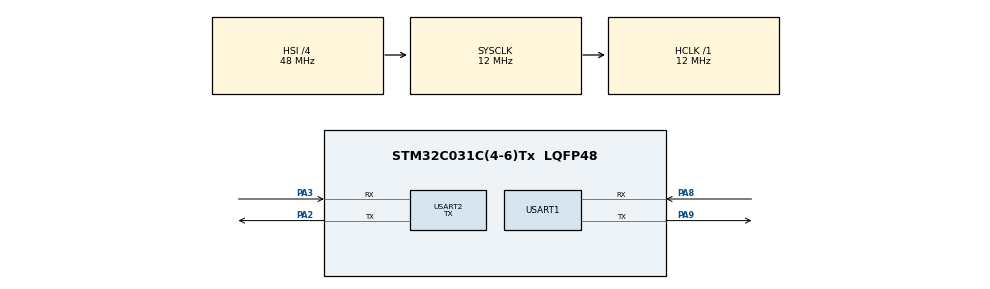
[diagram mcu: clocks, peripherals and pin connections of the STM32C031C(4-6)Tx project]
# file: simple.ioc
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Mcu.Family=STM32C0
Mcu.Name=STM32C031C(4-6)Tx
Mcu.Package=LQFP48
PA2.Mode=Asynchronous
PA2.Signal=USART2_TX
PA3.Mode=Asynchronous
PA3.Signal=USART2_RX
PA8.Mode=Asynchronous
PA8.Signal=USART1_RX
PA9.Mode=Asynchronous
PA9.Signal=USART1_TX
ProjectManager.HeapSize=0x200
ProjectManager.StackSize=0x400
ProjectManager.TargetToolchain=STM32CubeIDE
RCC.ADCFreq_Value=12000000
RCC.AHBFreq_Value=12000000
RCC.CortexFreq_Value=12000000
RCC.EXTERNAL_CLOCK_VALUE=12288000
RCC.HCLKFreq_Value=12000000
RCC.HSE_VALUE=8000000
RCC.HSI_VALUE=48000000
RCC.LSE_VALUE=32768
RCC.SYSCLKFreq_VALUE=12000000
USART1.VirtualMode-Asynchronous=VM_ASYNC
USART2.Mode=MODE_TX
USART2.VirtualMode-Asynchronous=VM_ASYNC
board=custom

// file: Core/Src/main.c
/* USER CODE BEGIN Header */
/**
  ******************************************************************************
  * @file           : main.c
  * @brief          : Main program body
  ******************************************************************************
  * @attention
  *
  * Copyright (c) 2026 STMicroelectronics.
  * All rights reserved.
  *
  * This software is licensed under terms that can be found in the LICENSE file
  * in the root directory of this software component.
  * If no LICENSE file comes with this software, it is provided AS-IS.
  *
  ******************************************************************************
  */
/* USER CODE END Header */
#include "main.h"
#include "dg2_disp.h"
#include "dg2_crc.h"
#include <stdio.h>

UART_HandleTypeDef huart1;
UART_HandleTypeDef huart2;

/* USER CODE BEGIN PV */

/* For printf */
int _write(int file, char *ptr, int len)
{
  HAL_UART_Transmit(&huart2, (uint8_t*)ptr, len, HAL_MAX_DELAY);

  return len;
}

size_t cb_transmit(const uint8_t *buff, size_t len, dg2_user_data data)
{
    return HAL_UART_Transmit(&huart1, buff, len, HAL_MAX_DELAY) == HAL_OK ? len : 0;
}

size_t cb_time(dg2_user_data data)
{
    return HAL_GetTick();
}

void cb_yield(size_t timeout_in, dg2_user_data user_data)
{
    dg2_disp *disp = (dg2_disp*)user_data;

    /* Receive the incoming packet */
    uint8_t buff[DG2_DISP_RX_BUFF_CAPACITY];
    HAL_UART_Receive(&huart1, buff, DG2_DISP_RX_BUFF_CAPACITY, timeout_in);
    size_t bytes_received = DG2_DISP_RX_BUFF_CAPACITY - huart1.RxXferCount;

    /* Write the packet into the circular buffer */
    dg2_circ_buff_write(&disp->rx_circ_buff, buff, bytes_received);

    /* Process the packet */
    dg2_disp_process(disp);
}

void cb_unsolicited_resp(dg2_cmd cmd, uint16_t vp, uint8_t *payload, uint8_t payload_size, dg2_user_data data)
{
   printf("Received packet: cmd = %s, vp = %04x\n", (cmd == DG2_CMD_READ) ? "Read" : "Write", vp);
}
/* USER CODE END PV */

void SystemClock_Config(void);
static void MX_GPIO_Init(void);
static void MX_USART1_UART_Init(void);
static void MX_USART2_UART_Init(void);

int main(void)
{

  /* MCU Configuration--------------------------------------------------------*/

  /* Reset of all peripherals, Initializes the Flash interface and the Systick. */
  HAL_Init();

  /* Configure the system clock */
  SystemClock_Config();

  /* Initialize all configured peripherals */
  MX_GPIO_Init();
  MX_USART1_UART_Init();
  MX_USART2_UART_Init();
  /* USER CODE BEGIN 2 */

  dg2_disp disp;
  dg2_disp_config config = {
      .cb_transmit = cb_transmit,
      .cb_crc = &dg2_crc,
      .cb_time = cb_time,
      .cb_yield = cb_yield,
      .cb_unsolicited_resp = cb_unsolicited_resp,
      .cb_lock = NULL,
      .cb_unlock = NULL,
      .user_data = &disp,

      .timeout = 250
  };

  dg2_disp_init(&disp, &config);

  /* USER CODE END 2 */

  /* Infinite loop */
  /* USER CODE BEGIN WHILE */
  while (1)
  {
      uint16_t PIC_Now = 0x14;
      uint16_t PIC_Set = 0x84;

      int16_t currentPage;
      if (dg2_disp_read_vps(&disp, PIC_Now, 1, &currentPage) != DG2_OK) {
          printf("Failed getting current page\n");

          goto failed;
      }

      int16_t newPage = currentPage == 1 ? 2 : 1;
      int16_t data[2] = { 0x5A01, newPage };

      if (dg2_disp_write_vps(&disp, PIC_Set, data, DG2_ARRAY_SIZE(data)) != DG2_OK) {
          printf("Failed setting new page\n");
      }

failed:
      HAL_Delay(1000);
    /* USER CODE END WHILE */

  }
}

void SystemClock_Config(void)
{
  RCC_OscInitTypeDef RCC_OscInitStruct = {0};
  RCC_ClkInitTypeDef RCC_ClkInitStruct = {0};

  __HAL_FLASH_SET_LATENCY(FLASH_LATENCY_0);

  /** Initializes the RCC Oscillators according to the specified parameters
  * in the RCC_OscInitTypeDef structure.
  */
  RCC_OscInitStruct.OscillatorType = RCC_OSCILLATORTYPE_HSI;
  RCC_OscInitStruct.HSIState = RCC_HSI_ON;
  RCC_OscInitStruct.HSIDiv = RCC_HSI_DIV4;
  RCC_OscInitStruct.HSICalibrationValue = RCC_HSICALIBRATION_DEFAULT;
  if (HAL_RCC_OscConfig(&RCC_OscInitStruct) != HAL_OK)
  {
    Error_Handler();
  }

  /** Initializes the CPU, AHB and APB buses clocks
  */
  RCC_ClkInitStruct.ClockType = RCC_CLOCKTYPE_HCLK|RCC_CLOCKTYPE_SYSCLK
                              |RCC_CLOCKTYPE_PCLK1;
  RCC_ClkInitStruct.SYSCLKSource = RCC_SYSCLKSOURCE_HSI;
  RCC_ClkInitStruct.SYSCLKDivider = RCC_SYSCLK_DIV1;
  RCC_ClkInitStruct.AHBCLKDivider = RCC_HCLK_DIV1;
  RCC_ClkInitStruct.APB1CLKDivider = RCC_APB1_DIV1;

  if (HAL_RCC_ClockConfig(&RCC_ClkInitStruct, FLASH_LATENCY_0) != HAL_OK)
  {
    Error_Handler();
  }
}

static void MX_USART1_UART_Init(void)
{

  huart1.Instance = USART1;
  huart1.Init.BaudRate = 115200;
  huart1.Init.WordLength = UART_WORDLENGTH_8B;
  huart1.Init.StopBits = UART_STOPBITS_1;
  huart1.Init.Parity = UART_PARITY_NONE;
  huart1.Init.Mode = UART_MODE_TX_RX;
  huart1.Init.HwFlowCtl = UART_HWCONTROL_NONE;
  huart1.Init.OverSampling = UART_OVERSAMPLING_16;
  huart1.Init.OneBitSampling = UART_ONE_BIT_SAMPLE_DISABLE;
  huart1.Init.ClockPrescaler = UART_PRESCALER_DIV1;
  huart1.AdvancedInit.AdvFeatureInit = UART_ADVFEATURE_NO_INIT;
  if (HAL_UART_Init(&huart1) != HAL_OK)
  {
    Error_Handler();
  }
  if (HAL_UARTEx_SetTxFifoThreshold(&huart1, UART_TXFIFO_THRESHOLD_1_8) != HAL_OK)
  {
    Error_Handler();
  }
  if (HAL_UARTEx_SetRxFifoThreshold(&huart1, UART_RXFIFO_THRESHOLD_1_8) != HAL_OK)
  {
    Error_Handler();
  }
  if (HAL_UARTEx_DisableFifoMode(&huart1) != HAL_OK)
  {
    Error_Handler();
  }

}

static void MX_USART2_UART_Init(void)
{

  huart2.Instance = USART2;
  huart2.Init.BaudRate = 115200;
  huart2.Init.WordLength = UART_WORDLENGTH_8B;
  huart2.Init.StopBits = UART_STOPBITS_1;
  huart2.Init.Parity = UART_PARITY_NONE;
  huart2.Init.Mode = UART_MODE_TX;
  huart2.Init.HwFlowCtl = UART_HWCONTROL_NONE;
  huart2.Init.OverSampling = UART_OVERSAMPLING_16;
  huart2.Init.OneBitSampling = UART_ONE_BIT_SAMPLE_DISABLE;
  huart2.Init.ClockPrescaler = UART_PRESCALER_DIV1;
  huart2.AdvancedInit.AdvFeatureInit = UART_ADVFEATURE_NO_INIT;
  if (HAL_UART_Init(&huart2) != HAL_OK)
  {
    Error_Handler();
  }

}

static void MX_GPIO_Init(void)
{

  /* GPIO Ports Clock Enable */
  __HAL_RCC_GPIOA_CLK_ENABLE();

}

void Error_Handler(void)
{
  __disable_irq();
  while (1)
  {
  }
}
